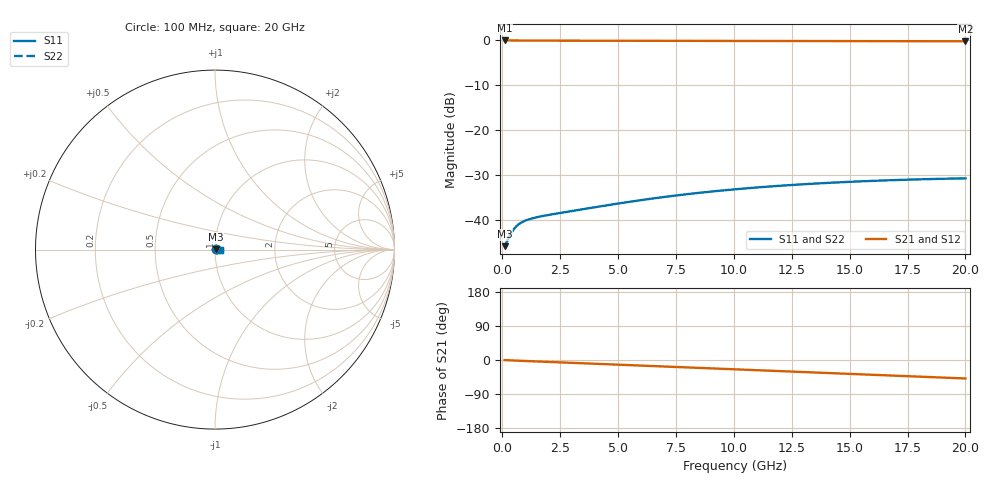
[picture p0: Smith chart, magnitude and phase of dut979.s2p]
! Touchstone file exported from HFSS 2026.1.0
!  File:  C:/ffzhzh/LocalFiles/Ansys_Project_Files/temp_train_TMRDL_979_1783159176_51560.aedt
!  Generated:  06:00:50 PM Jul  4, 2026
!  Design:  TMRDL
!  Project:  temp_train_TMRDL_979_1783159176_51560
! Variables:
!  h_bsmrdl = 2um
!  h_ox = 20um
!  h_rdl = 5um
!  h_sub = 80um
!  h_tmrdl = 2.47um
!  h_tsv = 80um
!  h_via = 3um
!  l_bsmrdl = 300um
!  l_sub = 1262.92um
!  l_tmrdl = 862.92um
!  m_sub = 200um
!  pitch = 30.7um
!  r_tsv = 6um
!  s_tmrdl = 10um
!  w_bsmrdl = 18um
!  w_sub = 500um
!  w_tmrdl = 26.79um
!  x_tsv_center1 = 876.315um
!  x_tsv_center2 = 1194.315um
!  x_tsv_center3 = 2084.025um
!  x_tsv_center4 = 2402.025um
!  x_tsv_center5 = 3291.735um
!  x_tsv_center6 = 3609.735um
# GHz S MA R 50.000000
! Terminal data exported
! Port[1] = TM_RDL1_1_T1
! Port[2] = TM_RDL1_1_T2
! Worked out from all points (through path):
!   200 points, 100 MHz to 20 GHz, reference 50 ohm
!   highest |S21| = -0.04 dB at 100 MHz (marker M1); lowest = -0.2 dB at 20 GHz (marker M2)
!   group delay of S21, straight-line fit = 6.76 ps
!   lowest |S11| = -45.8 dB at 100 MHz (marker M3), VSWR 1.01, Z = 50.5 + j0.105 ohm
!   |S11| at or under -10 dB: start of sweep to end of sweep
!   |S22| runs from -45.8 to -30.7 dB; largest |S21 - S12| = 4.4e-15
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0.1  0.005114 11.7  0.995 -0.3  0.995 -0.3  0.005114 11.7
! Gamma 0 0 0 0
! Port Impedance 50 0 50 0
0.2  0.005747 19.7  0.9946 -0.6  0.9946 -0.6  0.005747 19.7
0.3  0.006522 23.8  0.9941 -0.9  0.9941 -0.9  0.006521 23.8
0.4  0.007272 25.4  0.9935 -1.1  0.9935 -1.1  0.007272 25.4
0.5  0.007927 25.7  0.9929 -1.4  0.9929 -1.4  0.007928 25.7
0.6  0.008475 25.4  0.9924 -1.6  0.9924 -1.6  0.008476 25.4
0.7  0.008925 24.8  0.992 -1.9  0.992 -1.9  0.008926 24.8
0.9  0.009601 23.6  0.9914 -2.4  0.9914 -2.4  0.009602 23.7
1.2  0.01027 22.5  0.9908 -3.1  0.9908 -3.1  0.01028 22.5
1.6  0.01088 22.1  0.9903 -4.1  0.9903 -4.1  0.01089 22.1
2.2  0.01162 22.6  0.9898 -5.5  0.9898 -5.5  0.01162 22.6
3.5  0.01321 24.7  0.9889 -8.7  0.9889 -8.7  0.01321 24.7
5.3  0.01567 25.6  0.9876 -13.2  0.9876 -13.2  0.01567 25.6
6.8  0.01777 24.4  0.9864 -16.8  0.9864 -16.8  0.01778 24.4
8.4  0.01993 21.8  0.9849 -20.8  0.9849 -20.8  0.01993 21.8
10.1  0.02202 18.0  0.9832 -24.9  0.9832 -24.9  0.02202 18.0
11.7  0.02375 13.9  0.9817 -28.8  0.9817 -28.8  0.02376 13.9
13.4  0.02534 9.3  0.98 -32.9  0.98 -32.9  0.02535 9.3
15  0.0266 4.7  0.9784 -36.8  0.9784 -36.8  0.02661 4.8
16.7  0.02768 -0.2  0.9769 -40.8  0.9769 -40.8  0.0277 -0.2
18.3  0.02847 -4.9  0.9755 -44.7  0.9755 -44.7  0.02849 -4.8
20  0.02907 -9.8  0.9741 -48.8  0.9741 -48.8  0.0291 -9.8
